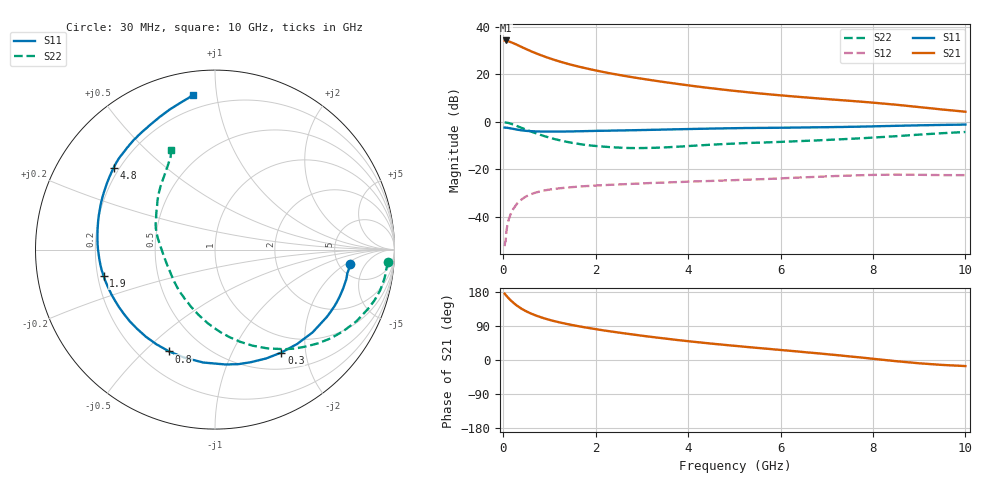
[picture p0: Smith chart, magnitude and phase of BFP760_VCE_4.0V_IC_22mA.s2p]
! Infineon Technologies  Discrete & RF Semiconductors
! BFP760
! VCE =  4.0 V,  IC =  22 mA
! Common Emitter S-Parameters:  Nov 2012
# GHz  S  MA  R  50
!  f  S11  S21  S12  S22
! GHz  MAG  ANG  MAG  ANG  MAG  ANG  MAG  ANG
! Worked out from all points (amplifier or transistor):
!   99 points, 30 MHz to 10 GHz, reference 50 ohm
!   highest |S21| = 34.2 dB at 50 MHz (marker M1)
!   |S21| within 3 dB of that: start of sweep to 425.4 MHz
!   unconditionally stable (mu >= 1): 4.565 GHz to end of sweep
!   at 350 MHz: K = 0.25, MSG = 32.7 dB, |S12| = -33.4 dB
!   at 3.5 GHz: K = 0.88, MSG = 21.1 dB, |S12| = -25.6 dB
!   at 10 GHz: K = 1.08, MAG = 11.6 dB, |S12| = -22.5 dB
!   S11 on the Smith chart (normalised r, x): 30 MHz: 6.20, -2.38; 300 MHz: 0.74, -1.58; 800 MHz: 0.32, -0.60; 1.9 GHz: 0.22, -0.11; 4.8 GHz: 0.18, +0.34; 10 GHz: 0.12, +0.86
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0.03  0.7541 -6.3  51.25 175.2  0.0024 71.3  0.9646 -4.1
0.05  0.7487 -10.2  51.41 172.0  0.003 92.1  0.9599 -6.7
0.09  0.7439 -18.9  50.22 166.6  0.0066 73.0  0.9508 -12.6
0.15  0.7275 -31.0  48.04 158.9  0.0107 70.5  0.918 -20.6
0.2  0.713 -40.3  45.87 153.2  0.0138 67.1  0.8844 -26.7
0.25  0.697 -49.0  43.74 148.0  0.0162 64.6  0.8475 -32.4
0.3  0.6823 -57.2  41.53 143.2  0.0189 61.9  0.8122 -37.5
0.4  0.6585 -72.2  37.4 135.0  0.0232 56.6  0.741 -46.7
0.5  0.6427 -84.8  33.71 128.4  0.0269 51.7  0.6784 -54.9
0.6  0.6325 -96.0  30.55 122.6  0.0298 48.1  0.6228 -62.1
0.8  0.6224 -114.2  25.48 113.4  0.0342 42.1  0.5321 -74.8
1  0.6196 -128.4  21.69 105.9  0.0373 37.8  0.4629 -85.9
1.2  0.6205 -139.7  18.79 99.8  0.0395 34.4  0.4117 -95.7
1.7  0.6314 -160.4  13.95 87.6  0.0435 30.0  0.3327 -116.7
1.9  0.6381 -166.7  12.62 83.5  0.0447 28.6  0.3151 -124.4
2.6  0.6567 175.6  9.314 70.7  0.0483 26.3  0.2824 -148.2
3.4  0.6811 160.1  7.032 58.1  0.0521 24.4  0.2859 -171.4
4.8  0.7258 141.1  4.694 39.8  0.0581 22.8  0.3397 163.7
5.1  0.7334 138.4  4.365 36.4  0.0594 22.5  0.3504 160.2
6.7  0.7617 125.9  3.158 18.8  0.0687 20.0  0.4013 143.8
8.5  0.8204 107.9  2.28 -3.1  0.0768 10.8  0.4961 125.0
10  0.8712 98.0  1.625 -16.0  0.0751 6.9  0.6085 113.7
